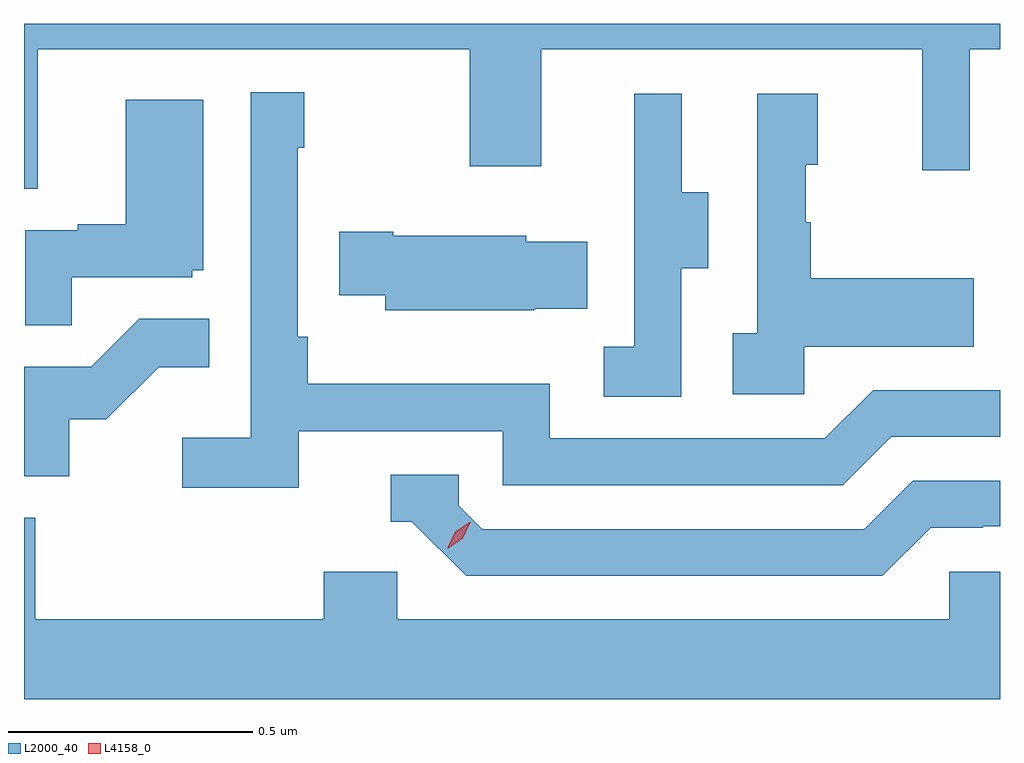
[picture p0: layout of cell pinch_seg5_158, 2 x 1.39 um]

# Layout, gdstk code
import gdstk
lib = gdstk.Library(unit=1e-6, precision=1e-09)
def P(c, l, *ps):  # polygons
    for p in ps: c.add(gdstk.Polygon(p, *l))
L2000_40 = (2000, 40)
L4158_0 = (4158, 0)

pinch_seg5_158 = lib.new_cell('pinch_seg5_158')
P(pinch_seg5_158, L2000_40, [(1105.111,891.392),(1105.996,891.392),(1105.996,891.153),(1106.143,891.153),(1106.143,891.392),(1106.924,891.392),(1106.924,891.144),(1107.021,891.144),(1107.021,891.392),(1107.083,891.392),(1107.083,891.445),(1105.083,891.445),(1105.083,891.106),(1105.111,891.106)],
  [(1105.646,890.61),(1106.064,890.61),(1106.064,890.499),(1106.761,890.499),(1106.86,890.598),(1107.083,890.598),(1107.083,890.694),(1106.823,890.694),(1106.724,890.595),(1106.16,890.595),(1106.16,890.707),(1105.664,890.707),(1105.664,890.803),(1105.644,890.803),(1105.644,891.191),(1105.657,891.191),(1105.657,891.304),(1105.548,891.304),(1105.548,890.596),(1105.407,890.596),(1105.407,890.494),(1105.646,890.494)],
  [(1106.43,890.944),(1106.485,890.944),(1106.485,891.099),(1106.431,891.099),(1106.431,891.301),(1106.333,891.301),(1106.333,891.087),(1106.334,891.087),(1106.334,890.783),(1106.271,890.783),(1106.271,890.68),(1106.43,890.68)],
  [(1106.682,890.783),(1107.029,890.783),(1107.029,890.923),(1106.695,890.923),(1106.695,891.038),(1106.685,891.038),(1106.685,891.156),(1106.71,891.156),(1106.71,891.301),(1106.586,891.301),(1106.586,890.81),(1106.535,890.81),(1106.535,890.685),(1106.682,890.685)],
  [(1105.181,890.925),(1105.428,890.925),(1105.428,890.94),(1105.45,890.94),(1105.45,891.289),(1105.292,891.289),(1105.292,891.034),(1105.193,891.034),(1105.193,891.021),(1105.086,891.021),(1105.086,890.827),(1105.181,890.827)],
  [(1106.129,890.861),(1106.237,890.861),(1106.237,890.998),(1106.112,890.998),(1106.112,891.01),(1105.84,891.01),(1105.84,891.018),(1105.729,891.018),(1105.729,890.888),(1105.823,890.888),(1105.823,890.858),(1106.129,890.858)],
  [(1105.176,890.634),(1105.252,890.634),(1105.359,890.741),(1105.463,890.741),(1105.463,890.84),(1105.319,890.84),(1105.221,890.742),(1105.083,890.742),(1105.083,890.517),(1105.176,890.517)],
  [(1106.941,890.412),(1107.048,890.412),(1107.048,890.415),(1107.083,890.415),(1107.083,890.508),(1106.904,890.508),(1106.805,890.409),(1106.022,890.409),(1105.974,890.457),(1105.974,890.52),(1105.835,890.52),(1105.835,890.424),(1105.878,890.424),(1105.989,890.313),(1106.842,890.313)],
  [(1107.083,890.322),(1106.979,890.322),(1106.979,890.224),(1105.848,890.224),(1105.848,890.322),(1105.697,890.322),(1105.697,890.224),(1105.106,890.224),(1105.106,890.432),(1105.083,890.432),(1105.083,890.06),(1107.083,890.06)])
P(pinch_seg5_158, L4158_0, [(1105.951,890.37),(1105.951,890.371),(1105.967,890.404),(1105.997,890.424),(1105.997,890.424),(1105.997,890.423),(1105.982,890.39),(1105.952,890.37)])

lib.write_gds('pinch_seg5_158.gds')
